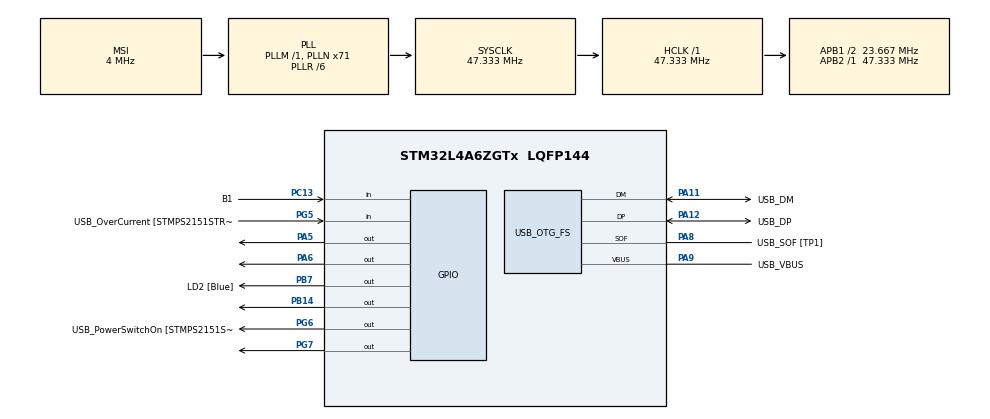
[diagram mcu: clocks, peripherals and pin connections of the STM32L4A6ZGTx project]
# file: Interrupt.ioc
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Mcu.Family=STM32L4
Mcu.Name=STM32L4A6ZGTx
Mcu.Package=LQFP144
NVIC.PriorityGroup=NVIC_PRIORITYGROUP_4
PA10.GPIO_Label=USB_ID
PA10.Signal=USB_OTG_FS_ID
PA11.GPIO_Label=USB_DM
PA11.Mode=Device_Only
PA11.Signal=USB_OTG_FS_DM
PA12.GPIO_Label=USB_DP
PA12.Mode=Device_Only
PA12.Signal=USB_OTG_FS_DP
PA13\ (JTMS/SWDIO).GPIO_Label=TMS
PA13\ (JTMS/SWDIO).Mode=Trace_Asynchronous_SW
PA13\ (JTMS/SWDIO).Signal=SYS_JTMS-SWDIO
PA14\ (JTCK/SWCLK).GPIO_Label=TCK
PA14\ (JTCK/SWCLK).Mode=Trace_Asynchronous_SW
PA14\ (JTCK/SWCLK).Signal=SYS_JTCK-SWCLK
PA5.Signal=GPIO_Output
PA6.Signal=GPIO_Output
PA8.GPIO_Label=USB_SOF [TP1]
PA8.Mode=Activate_SOF_FS
PA8.Signal=USB_OTG_FS_SOF
PA9.GPIO_Label=USB_VBUS
PA9.Mode=Activate_VBUS
PA9.Signal=USB_OTG_FS_VBUS
PB14.Signal=GPIO_Output
PB3\ (JTDO/TRACESWO).GPIO_Label=SWO
PB3\ (JTDO/TRACESWO).Mode=Trace_Asynchronous_SW
PB3\ (JTDO/TRACESWO).Signal=SYS_JTDO-SWO
PB7.GPIO_Label=LD2 [Blue]
PB7.Signal=GPIO_Output
PC13.GPIO_Label=B1
PC13.Signal=GPIO_Input
PC14-OSC32_IN\ (PC14).Mode=LSE-External-Oscillator
PC14-OSC32_IN\ (PC14).Signal=RCC_OSC32_IN
PC15-OSC32_OUT\ (PC15).Mode=LSE-External-Oscillator
PC15-OSC32_OUT\ (PC15).Signal=RCC_OSC32_OUT
PG5.GPIO_Label=USB_OverCurrent [STMPS2151STR_FAULT]
PG5.Signal=GPIO_Input
PG6.GPIO_Label=USB_PowerSwitchOn [STMPS2151STR_EN]
PG6.Signal=GPIO_Output
PG7.Signal=GPIO_Output
PG8.GPIO_Label=STLK_TX [STM32F103CBT6_PA2]
PG8.Signal=LPUART1_RX
PH1-OSC_OUT\ (PH1).Signal=RCC_OSC_OUT
ProjectManager.HeapSize=0x200
ProjectManager.StackSize=0x400
ProjectManager.TargetToolchain=STM32CubeIDE
RCC.ADCFreq_Value=48000000
RCC.AHBFreq_Value=47333333.333333336
RCC.APB1CLKDivider=RCC_HCLK_DIV2
RCC.APB1Freq_Value=23666666.666666668
RCC.APB1TimFreq_Value=47333333.333333336
RCC.APB2Freq_Value=47333333.333333336
RCC.APB2TimFreq_Value=47333333.333333336
RCC.CortexFreq_Value=47333333.333333336
RCC.FLatency=FLASH_LATENCY_2
RCC.HCLKFreq_Value=47333333.333333336
RCC.HSE_VALUE=8000000
RCC.HSI48_VALUE=48000000
RCC.HSI_VALUE=16000000
RCC.MSI_VALUE=4000000
RCC.PLLN=71
RCC.PLLR=RCC_PLLR_DIV6
RCC.PLLSAI1N=24
RCC.SYSCLKFreq_VALUE=47333333.333333336
RCC.SYSCLKSource=RCC_SYSCLKSOURCE_PLLCLK
RCC.USBFreq_Value=48000000
RCC.VCOOutputFreq_Value=284000000
USB_OTG_FS.Sof_enable=ENABLE
USB_OTG_FS.VirtualMode=Device_Only
USB_OTG_FS.battery_charging_enable=ENABLE
USB_OTG_FS.low_power_enable=DISABLE
USB_OTG_FS.lpm_enable=DISABLE
USB_OTG_FS.use_dedicated_ep1=DISABLE
USB_OTG_FS.vbus_sensing_enable=ENABLE
board=NUCLEO-L4A6ZG

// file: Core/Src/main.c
/* USER CODE BEGIN Header */
/**
  ******************************************************************************
  * @file           : main.c
  * @brief          : Main program body
  ******************************************************************************
  * @attention
  *
  * Copyright (c) 2025 STMicroelectronics.
  * All rights reserved.
  *
  * This software is licensed under terms that can be found in the LICENSE file
  * in the root directory of this software component.
  * If no LICENSE file comes with this software, it is provided AS-IS.
  *
  ******************************************************************************
  */
/* USER CODE END Header */
#include "main.h"

PCD_HandleTypeDef hpcd_USB_OTG_FS;

void SystemClock_Config(void);
static void MX_GPIO_Init(void);
static void MX_USB_OTG_FS_PCD_Init(void);

/* USER CODE BEGIN 0 */
void GPIO_Config(void){

	RCC->AHB2ENR |=(1<<0);
	RCC->AHB2ENR |=(1<<2);

	GPIOC->MODER &= ~(3 << (13 * 2));
	GPIOB->MODER &= ~(3 << (7 * 2));  // Clear mode
	GPIOB->MODER |= (1 << (7 * 2));   // Set as output
	GPIOB->MODER &= ~(3 << (14 * 2)); // Clear bits 29:28
	GPIOB->MODER |=  (1 << (14 * 2)); // Set bit 28 to 1 (01 = output)

	GPIOC->PUPDR &= ~(3 << (13 * 2)); // Clear PUPD13
	GPIOC->PUPDR |=  (2 << (13 * 2)); // Set to pull-down (10)

}
void interrupt(void){

	RCC->APB2ENR |= RCC_APB2ENR_SYSCFGEN;

	SYSCFG->EXTICR[3] &= ~(0xF << 4); // Clear EXTI13 bits
	SYSCFG->EXTICR[3] |= (0x2 << 4);  // 0x2 = Port C

	EXTI->IMR1 |=(1<<13);

	EXTI->FTSR1 |=(1<<13);//enable falling edge for pull down
	EXTI->RTSR1 &=~(1<<13);

	NVIC_SetPriority(EXTI15_10_IRQn, 1);//lower the number highest the priority

	NVIC_EnableIRQ(EXTI15_10_IRQn);

}
volatile int flag=0;
volatile int count = 0;
void EXTI15_10_IRQHandler(void){

	if(EXTI->PR1 & (1<<13)){ //if the interrupt is caused by  PR1
		EXTI->PR1=(1<<13); //clear the interrupt pending bit
		flag=1;

	}

}

/* USER CODE END 0 */

int main(void)
{

  /* MCU Configuration--------------------------------------------------------*/

  /* Reset of all peripherals, Initializes the Flash interface and the Systick. */
  HAL_Init();

  /* Configure the system clock */
  SystemClock_Config();

  /* Initialize all configured peripherals */
  MX_GPIO_Init();
  MX_USB_OTG_FS_PCD_Init();
  /* USER CODE BEGIN 2 */
  GPIO_Config();
  interrupt();
  /* USER CODE END 2 */

  /* Infinite loop */
	  while (1)
	  {

    /* USER CODE BEGIN 3 */

		 if(flag){

			 HAL_Delay(100);
			 count++;

			 if (count == 1) {
			     // PB7 ON, PB14 OFF
			     GPIOB->BSRR = (1 << 7);            // Set PB7
			     GPIOB->BSRR = (1 << (14 + 16));    // Reset PB14
			 }
			 else if (count == 2) {
			     // PB14 ON, PB7 OFF
			     GPIOB->BSRR = (1 << 14);           // Set PB14
			     GPIOB->BSRR = (1 << (7 + 16));     // Reset PB7
			 }
			 else {
			     // Both ON
			     GPIOB->BSRR = (1 << 7);            // Set PB7
			     GPIOB->BSRR = (1 << 14);           // Set PB14
			     count = 0;  // Reset count for next cycle
			 }

			 flag=0;
		 }

	  }
  /* USER CODE END 3 */
}

void SystemClock_Config(void)
{
  RCC_OscInitTypeDef RCC_OscInitStruct = {0};
  RCC_ClkInitTypeDef RCC_ClkInitStruct = {0};

  /** Configure the main internal regulator output voltage
  */
  if (HAL_PWREx_ControlVoltageScaling(PWR_REGULATOR_VOLTAGE_SCALE1) != HAL_OK)
  {
    Error_Handler();
  }

  /** Configure LSE Drive Capability
  */
  HAL_PWR_EnableBkUpAccess();
  __HAL_RCC_LSEDRIVE_CONFIG(RCC_LSEDRIVE_LOW);

  /** Initializes the RCC Oscillators according to the specified parameters
  * in the RCC_OscInitTypeDef structure.
  */
  RCC_OscInitStruct.OscillatorType = RCC_OSCILLATORTYPE_LSE|RCC_OSCILLATORTYPE_MSI;
  RCC_OscInitStruct.LSEState = RCC_LSE_ON;
  RCC_OscInitStruct.MSIState = RCC_MSI_ON;
  RCC_OscInitStruct.MSICalibrationValue = 0;
  RCC_OscInitStruct.MSIClockRange = RCC_MSIRANGE_6;
  RCC_OscInitStruct.PLL.PLLState = RCC_PLL_ON;
  RCC_OscInitStruct.PLL.PLLSource = RCC_PLLSOURCE_MSI;
  RCC_OscInitStruct.PLL.PLLM = 1;
  RCC_OscInitStruct.PLL.PLLN = 71;
  RCC_OscInitStruct.PLL.PLLP = RCC_PLLP_DIV2;
  RCC_OscInitStruct.PLL.PLLQ = RCC_PLLQ_DIV2;
  RCC_OscInitStruct.PLL.PLLR = RCC_PLLR_DIV6;
  if (HAL_RCC_OscConfig(&RCC_OscInitStruct) != HAL_OK)
  {
    Error_Handler();
  }

  /** Initializes the CPU, AHB and APB buses clocks
  */
  RCC_ClkInitStruct.ClockType = RCC_CLOCKTYPE_HCLK|RCC_CLOCKTYPE_SYSCLK
                              |RCC_CLOCKTYPE_PCLK1|RCC_CLOCKTYPE_PCLK2;
  RCC_ClkInitStruct.SYSCLKSource = RCC_SYSCLKSOURCE_PLLCLK;
  RCC_ClkInitStruct.AHBCLKDivider = RCC_SYSCLK_DIV1;
  RCC_ClkInitStruct.APB1CLKDivider = RCC_HCLK_DIV2;
  RCC_ClkInitStruct.APB2CLKDivider = RCC_HCLK_DIV1;

  if (HAL_RCC_ClockConfig(&RCC_ClkInitStruct, FLASH_LATENCY_2) != HAL_OK)
  {
    Error_Handler();
  }

  /** Enable MSI Auto calibration
  */
  HAL_RCCEx_EnableMSIPLLMode();
}

static void MX_USB_OTG_FS_PCD_Init(void)
{

  hpcd_USB_OTG_FS.Instance = USB_OTG_FS;
  hpcd_USB_OTG_FS.Init.dev_endpoints = 6;
  hpcd_USB_OTG_FS.Init.speed = PCD_SPEED_FULL;
  hpcd_USB_OTG_FS.Init.phy_itface = PCD_PHY_EMBEDDED;
  hpcd_USB_OTG_FS.Init.Sof_enable = ENABLE;
  hpcd_USB_OTG_FS.Init.low_power_enable = DISABLE;
  hpcd_USB_OTG_FS.Init.lpm_enable = DISABLE;
  hpcd_USB_OTG_FS.Init.battery_charging_enable = ENABLE;
  hpcd_USB_OTG_FS.Init.use_dedicated_ep1 = DISABLE;
  hpcd_USB_OTG_FS.Init.vbus_sensing_enable = ENABLE;
  if (HAL_PCD_Init(&hpcd_USB_OTG_FS) != HAL_OK)
  {
    Error_Handler();
  }

}

static void MX_GPIO_Init(void)
{
  GPIO_InitTypeDef GPIO_InitStruct = {0};

  /* GPIO Ports Clock Enable */
  __HAL_RCC_GPIOC_CLK_ENABLE();
  __HAL_RCC_GPIOH_CLK_ENABLE();
  __HAL_RCC_GPIOA_CLK_ENABLE();
  __HAL_RCC_GPIOB_CLK_ENABLE();
  __HAL_RCC_GPIOG_CLK_ENABLE();
  HAL_PWREx_EnableVddIO2();

  /*Configure GPIO pin Output Level */
  HAL_GPIO_WritePin(GPIOA, GPIO_PIN_5|GPIO_PIN_6, GPIO_PIN_RESET);

  /*Configure GPIO pin Output Level */
  HAL_GPIO_WritePin(GPIOB, GPIO_PIN_14|LD2_Pin, GPIO_PIN_RESET);

  /*Configure GPIO pin Output Level */
  HAL_GPIO_WritePin(GPIOG, USB_PowerSwitchOn_Pin|GPIO_PIN_7, GPIO_PIN_RESET);

  /*Configure GPIO pin : B1_Pin */
  GPIO_InitStruct.Pin = B1_Pin;
  GPIO_InitStruct.Mode = GPIO_MODE_INPUT;
  GPIO_InitStruct.Pull = GPIO_NOPULL;
  HAL_GPIO_Init(B1_GPIO_Port, &GPIO_InitStruct);

  /*Configure GPIO pins : PA5 PA6 */
  GPIO_InitStruct.Pin = GPIO_PIN_5|GPIO_PIN_6;
  GPIO_InitStruct.Mode = GPIO_MODE_OUTPUT_PP;
  GPIO_InitStruct.Pull = GPIO_NOPULL;
  GPIO_InitStruct.Speed = GPIO_SPEED_FREQ_LOW;
  HAL_GPIO_Init(GPIOA, &GPIO_InitStruct);

  /*Configure GPIO pins : PB14 LD2_Pin */
  GPIO_InitStruct.Pin = GPIO_PIN_14|LD2_Pin;
  GPIO_InitStruct.Mode = GPIO_MODE_OUTPUT_PP;
  GPIO_InitStruct.Pull = GPIO_NOPULL;
  GPIO_InitStruct.Speed = GPIO_SPEED_FREQ_LOW;
  HAL_GPIO_Init(GPIOB, &GPIO_InitStruct);

  /*Configure GPIO pin : USB_OverCurrent_Pin */
  GPIO_InitStruct.Pin = USB_OverCurrent_Pin;
  GPIO_InitStruct.Mode = GPIO_MODE_INPUT;
  GPIO_InitStruct.Pull = GPIO_NOPULL;
  HAL_GPIO_Init(USB_OverCurrent_GPIO_Port, &GPIO_InitStruct);

  /*Configure GPIO pins : USB_PowerSwitchOn_Pin PG7 */
  GPIO_InitStruct.Pin = USB_PowerSwitchOn_Pin|GPIO_PIN_7;
  GPIO_InitStruct.Mode = GPIO_MODE_OUTPUT_PP;
  GPIO_InitStruct.Pull = GPIO_NOPULL;
  GPIO_InitStruct.Speed = GPIO_SPEED_FREQ_LOW;
  HAL_GPIO_Init(GPIOG, &GPIO_InitStruct);

  /*Configure GPIO pin : STLK_TX_Pin */
  GPIO_InitStruct.Pin = STLK_TX_Pin;
  GPIO_InitStruct.Mode = GPIO_MODE_AF_PP;
  GPIO_InitStruct.Pull = GPIO_NOPULL;
  GPIO_InitStruct.Speed = GPIO_SPEED_FREQ_VERY_HIGH;
  GPIO_InitStruct.Alternate = GPIO_AF8_LPUART1;
  HAL_GPIO_Init(STLK_TX_GPIO_Port, &GPIO_InitStruct);

}

void Error_Handler(void)
{
  __disable_irq();
  while (1)
  {
  }
}
